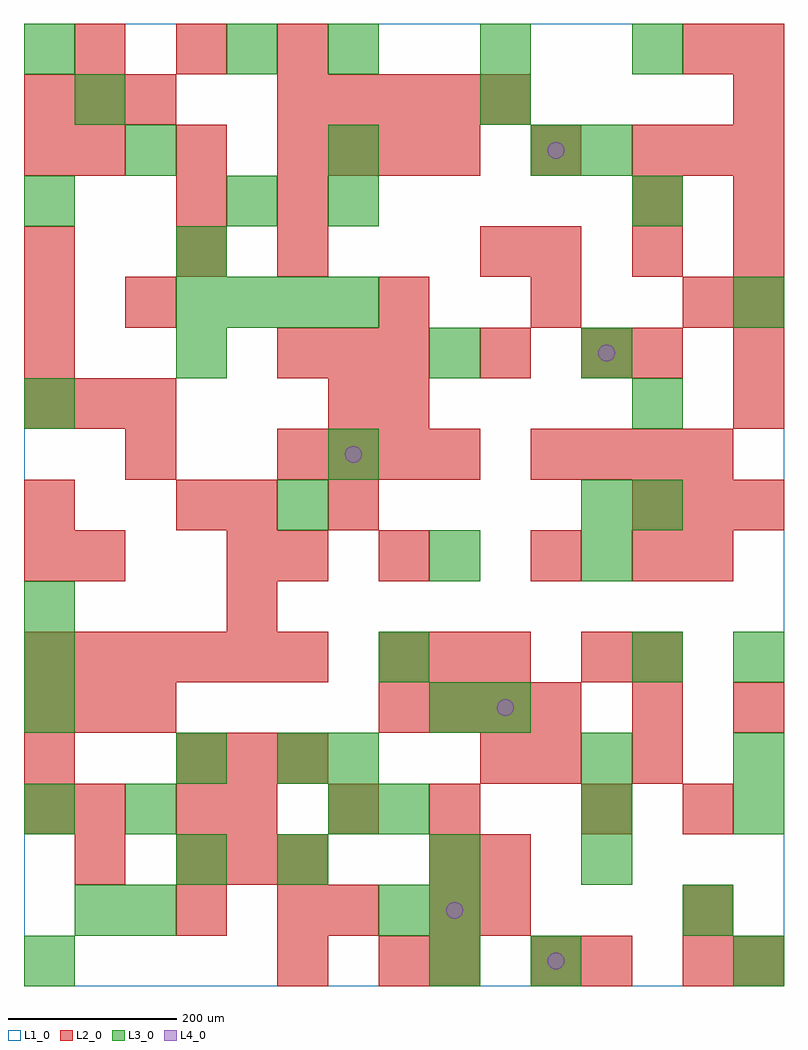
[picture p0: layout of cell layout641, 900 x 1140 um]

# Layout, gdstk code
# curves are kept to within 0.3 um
import gdstk
lib = gdstk.Library(unit=1e-6, precision=1e-09)
def R(c, l, rs):  # rectangles x0, y0, x1, y1
    for r in rs: c.add(gdstk.rectangle(r[:2], r[2:], *l))
def A(c, l, x, y, w, h, nx, ny, dx, dy):  # array of equal rectangles
    R(c, l, [(x+i*dx, y+j*dy, x+i*dx+w, y+j*dy+h) for i in range(nx) for j in range(ny)])
def P(c, l, *ps):  # polygons
    for p in ps: c.add(gdstk.Polygon(p, *l))
L1_0 = (1, 0)
L2_0 = (2, 0)
L3_0 = (3, 0)
L4_0 = (4, 0)

layout641 = lib.new_cell('layout641')
R(layout641, L1_0, [(0,0,900,1140)])
A(layout641, L2_0, 480, 0, 60, 60, 1, 3, 0, 60)
A(layout641, L2_0, 600, 0, 60, 60, 1, 3, 0, 240)
A(layout641, L2_0, 660, 0, 60, 60, 1, 3, 0, 180)
A(layout641, L2_0, 180, 120, 60, 60, 3, 2, 60, 120)
A(layout641, L2_0, 240, 180, 60, 60, 3, 1, 120, 0)
A(layout641, L2_0, 720, 240, 60, 60, 1, 3, 0, 60)
A(layout641, L2_0, 0, 300, 60, 60, 3, 3, 60, 360)
A(layout641, L2_0, 420, 300, 60, 60, 4, 1, 60, 0)
A(layout641, L2_0, 0, 360, 60, 60, 6, 1, 60, 0)
A(layout641, L2_0, 420, 360, 60, 60, 3, 1, 60, 0)
A(layout641, L2_0, 240, 420, 60, 60, 1, 3, 0, 60)
A(layout641, L2_0, 720, 540, 60, 60, 3, 2, 60, 420)
A(layout641, L2_0, 300, 600, 60, 60, 4, 1, 60, 0)
A(layout641, L2_0, 600, 600, 60, 60, 4, 1, 60, 0)
A(layout641, L2_0, 840, 660, 60, 60, 1, 3, 0, 60)
A(layout641, L2_0, 0, 720, 60, 60, 1, 3, 0, 60)
A(layout641, L2_0, 300, 720, 60, 60, 3, 1, 60, 0)
A(layout641, L2_0, 420, 780, 60, 60, 3, 1, 180, 0)
A(layout641, L2_0, 600, 840, 60, 60, 3, 1, 120, 0)
A(layout641, L2_0, 60, 960, 60, 60, 3, 2, 120, 120)
A(layout641, L2_0, 360, 960, 60, 60, 3, 1, 60, 0)
A(layout641, L2_0, 300, 1020, 60, 60, 5, 1, 60, 0)
R(layout641, L2_0, [(300,0,360,60), (420,0,480,60), (780,0,840,60), (840,0,900,60), (180,60,240,120), (300,60,360,120), (360,60,420,120), (540,60,600,120), (780,60,840,120), (60,120,120,180), (540,120,600,180), (0,180,60,240), (60,180,120,240), (180,180,240,240), (780,180,840,240), (0,240,60,300), (540,240,600,300), (840,300,900,360), (0,480,60,540), (60,480,120,540), (300,480,360,540), (420,480,480,540), (720,480,780,540), (780,480,840,540), (0,540,60,600), (180,540,240,600), (360,540,420,600), (120,600,180,660), (360,660,420,720), (420,660,480,720), (540,720,600,780), (660,720,720,780), (720,720,780,780), (120,780,180,840), (180,840,240,900), (300,840,360,900), (540,840,600,900), (180,900,240,960), (300,900,360,960), (720,900,780,960), (840,900,900,960), (0,960,60,1020), (600,960,660,1020), (840,1020,900,1080), (780,1080,840,1140), (840,1080,900,1140)])
A(layout641, L3_0, 300, 120, 60, 60, 3, 1, 180, 0)
A(layout641, L3_0, 0, 300, 60, 60, 1, 3, 0, 60)
A(layout641, L3_0, 180, 780, 60, 60, 4, 1, 60, 0)
A(layout641, L3_0, 120, 960, 60, 60, 3, 1, 240, 0)
A(layout641, L3_0, 360, 1080, 60, 60, 3, 1, 180, 0)
R(layout641, L3_0, [(0,0,60,60), (480,0,540,60), (600,0,660,60), (840,0,900,60), (60,60,120,120), (120,60,180,120), (420,60,480,120), (480,60,540,120), (780,60,840,120), (180,120,240,180), (0,180,60,240), (120,180,180,240), (360,180,420,240), (420,180,480,240), (660,180,720,240), (840,180,900,240), (180,240,240,300), (300,240,360,300), (360,240,420,300), (660,240,720,300), (840,240,900,300), (480,300,540,360), (540,300,600,360), (420,360,480,420), (720,360,780,420), (840,360,900,420), (480,480,540,540), (660,480,720,540), (300,540,360,600), (660,540,720,600), (720,540,780,600), (360,600,420,660), (0,660,60,720), (720,660,780,720), (180,720,240,780), (480,720,540,780), (660,720,720,780), (840,780,900,840), (180,840,240,900), (0,900,60,960), (240,900,300,960), (360,900,420,960), (720,900,780,960), (660,960,720,1020), (60,1020,120,1080), (540,1020,600,1080), (0,1080,60,1140), (240,1080,300,1140)])
P(layout641, L4_0, [(400,630),(399.239,633.827),(397.071,637.071),(393.827,639.239),(390,640),(386.173,639.239),(382.929,637.071),(380.761,633.827),(380,630),(380.761,626.173),(382.929,622.929),(386.173,620.761),(390,620),(393.827,620.761),(397.071,622.929),(399.239,626.173)],
  [(520,90),(519.239,93.827),(517.071,97.071),(513.827,99.239),(510,100),(506.173,99.239),(502.929,97.071),(500.761,93.827),(500,90),(500.761,86.173),(502.929,82.929),(506.173,80.761),(510,80),(513.827,80.761),(517.071,82.929),(519.239,86.173)],
  [(580,330),(579.239,333.827),(577.071,337.071),(573.827,339.239),(570,340),(566.173,339.239),(562.929,337.071),(560.761,333.827),(560,330),(560.761,326.173),(562.929,322.929),(566.173,320.761),(570,320),(573.827,320.761),(577.071,322.929),(579.239,326.173)],
  [(640,30),(639.239,33.827),(637.071,37.071),(633.827,39.239),(630,40),(626.173,39.239),(622.929,37.071),(620.761,33.827),(620,30),(620.761,26.173),(622.929,22.929),(626.173,20.761),(630,20),(633.827,20.761),(637.071,22.929),(639.239,26.173)],
  [(640,990),(639.239,993.827),(637.071,997.071),(633.827,999.239),(630,1000),(626.173,999.239),(622.929,997.071),(620.761,993.827),(620,990),(620.761,986.173),(622.929,982.929),(626.173,980.761),(630,980),(633.827,980.761),(637.071,982.929),(639.239,986.173)],
  [(700,750),(699.239,753.827),(697.071,757.071),(693.827,759.239),(690,760),(686.173,759.239),(682.929,757.071),(680.761,753.827),(680,750),(680.761,746.173),(682.929,742.929),(686.173,740.761),(690,740),(693.827,740.761),(697.071,742.929),(699.239,746.173)])

lib.write_gds('layout641.gds')
